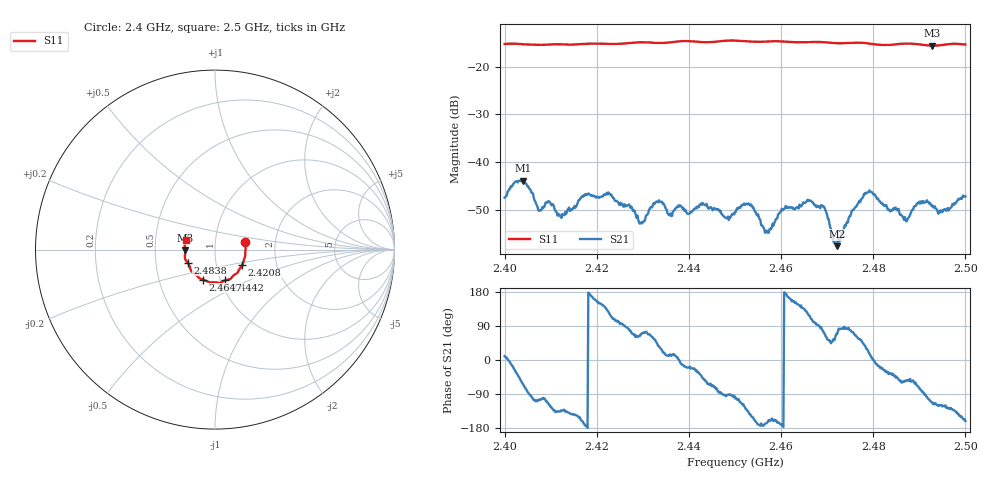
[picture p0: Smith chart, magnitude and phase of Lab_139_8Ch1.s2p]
# Hz S RI R 50
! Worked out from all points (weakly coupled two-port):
!   601 points, 2.4 GHz to 2.5 GHz, reference 50 ohm
!   highest |S21| = -43.90 dB at 2.404 GHz (marker M1); lowest = -57.7 dB at 2.4722 GHz (marker M2)
!   lowest |S11| = -15.6 dB at 2.4928 GHz (marker M3), VSWR 1.40, Z = 35.8 - j0.368 ohm
!   |S11| at or under -10 dB: start of sweep to end of sweep
!   S12 and S22 are empty: the file has one direction only
!   S11 on the Smith chart (normalised r, x): 2.4 GHz: 1.40, +0.12; 2.4208 GHz: 1.33, -0.24; 2.4442 GHz: 1.05, -0.37; 2.4647 GHz: 0.83, -0.29; 2.4838 GHz: 0.73, -0.11; 2.5 GHz: 0.72, +0.08
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2.4e9  0.1678 0.0411  0.00416 0.000733  0 0  0 0
2.404e9  0.1709 0.0173  0.0028 -0.00573  0 0  0 0
2.4075e9  0.1689 -0.0136  -0.000846 -0.00298  0 0  0 0
2.411833e9  0.1675 -0.0378  -0.00202 -0.00195  0 0  0 0
2.416667e9  0.1588 -0.0681  -0.00398 -0.00147  0 0  0 0
2.420833e9  0.1507 -0.0873  -0.00368 0.00222  0 0  0 0
2.429667e9  0.1253 -0.1294  0.00087 0.00216  0 0  0 0
2.433333e9  0.1078 -0.1403  0.00302 0.00228  0 0  0 0
2.435833e9  0.0952 -0.1522  0.00267 0.000712  0 0  0 0
2.444167e9  0.0567 -0.1713  0.00151 -0.0029  0 0  0 0
2.45e9  0.0245 -0.1862  -0.000569 -0.00294  0 0  0 0
2.453333e9  0.00625 -0.1832  -0.00281 -0.00208  0 0  0 0
2.457e9  -0.0201 -0.1824  -0.00176 -0.000462  0 0  0 0
2.464667e9  -0.0672 -0.167  -0.00267 0.00246  0 0  0 0
2.466667e9  -0.0799 -0.1627  -0.00113 0.00367  0 0  0 0
2.469333e9  -0.0907 -0.1561  0.00112 0.00321  0 0  0 0
2.472167e9  -0.1028 -0.1431  0.000477 0.00122  0 0  0 0
2.4785e9  -0.1356 -0.1126  0.00409 0.00231  0 0  0 0
2.483333e9  -0.1506 -0.0763  0.00254 -0.00193  0 0  0 0
2.483833e9  -0.1531 -0.0721  0.00254 -0.00183  0 0  0 0
2.492833e9  -0.1659 -0.005  -0.00132 -0.00325  0 0  0 0
2.5e9  -0.1622 0.0528  -0.00412 -0.00143  0 0  0 0
